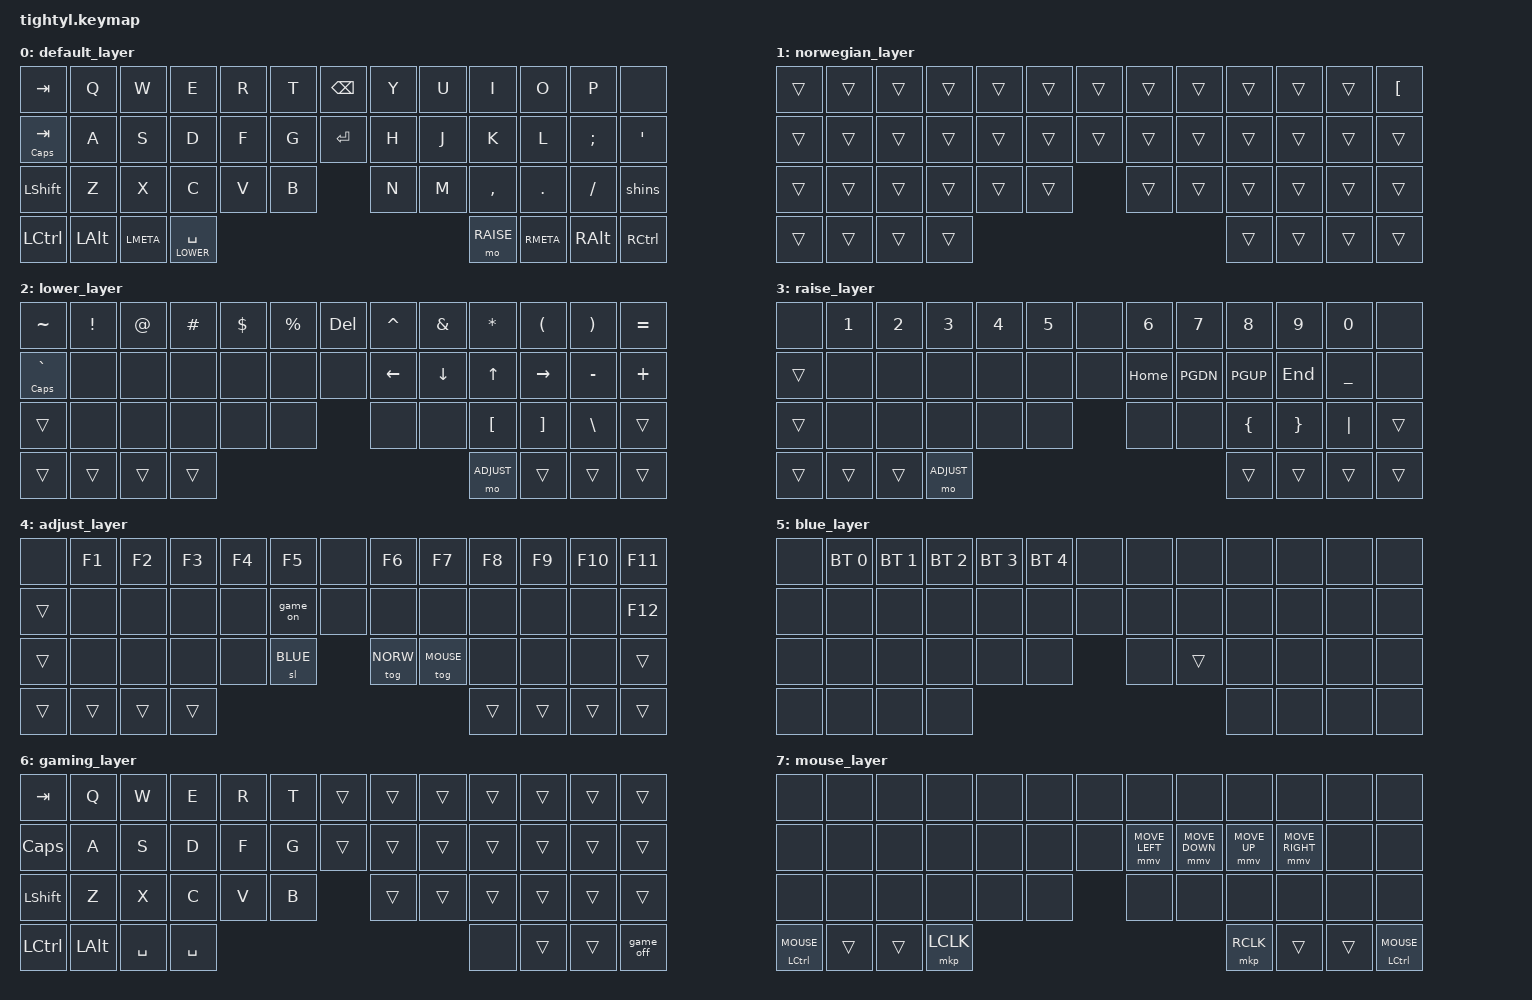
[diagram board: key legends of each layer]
/*
 * Copyright (c) 2020 The ZMK Contributors
 *
 * SPDX-License-Identifier: MIT
 */

#include <behaviors.dtsi>
#include <dt-bindings/zmk/keys.h>
#include <dt-bindings/zmk/bt.h>
#include <dt-bindings/zmk/outputs.h>
#include <dt-bindings/zmk/mouse.h>

#define _____ &none

#define DEFAULT 0
#define NORW    1
#define LOWER   2
#define RAISE   3
#define ADJUST  4
#define BLUE    5
#define GAMING  6
#define MOUSE   7


#define M_UP     &mmv MOVE_UP
#define M_DOWN   &mmv MOVE_DOWN
#define M_LEFT   &mmv MOVE_LEFT
#define M_RIGHT  &mmv MOVE_RIGHT


/ {
    behaviors {
        shins: shift_insert {
            compatible = "zmk,behavior-mod-morph";
            label = "SHIFT_INSERT";
            #binding-cells = <0>;
            bindings = <&kp RSHFT>, <&kp INSERT>;
            mods = <(MOD_LSFT)>;
        };

        game_on: gaming_on {
            compatible = "zmk,behavior-macro";
            label = "GAMING_ON";
            #binding-cells = <0>;
            bindings = <&out OUT_USB>, <&to GAMING>;
        };

        game_off: gaming_off {
            compatible = "zmk,behavior-macro";
            label = "GAMING_OFF";
            #binding-cells = <0>;
            bindings = <&out OUT_BLE>, <&tog GAMING>;

        mtt: mod_tap_tog {
            compatible = "zmk,behavior-hold-tap";
            label = "MOD_TAP_TOG";
            #binding-cells = <2>;
            tapping-term-ms = <200>;    // <---[[moderate duration]]
            quick_tap_ms = <0>;
            flavor = "balanced";
            bindings = <&kp>, <&tog>;
        };    };
    };

    keymap {
        compatible = "zmk,keymap";

        default_layer {
            bindings = <
// ╭───────────┬───────────┬───────────┬───────────┬───────────┬───────────╮                 ╭──────────╮╭───────────┬───────────┬───────────┬───────────┬───────────┬──────────╮
     &kp TAB     &kp  Q      &kp  W      &kp  E      &kp  R      &kp  T                        &kp BSPC    &kp  Y      &kp  U      &kp  I      &kp  O      &kp  P       _____
// ├───────────┼───────────┼───────────┼───────────┼───────────┼───────────┤                 ├──────────┤├───────────┼───────────┼───────────┼───────────┼───────────┼──────────┤
    &mt CAPS TAB &kp  A      &kp  S      &kp  D      &kp  F      &kp  G                        &kp ENTER   &kp  H      &kp  J      &kp  K      &kp  L      &kp SEMI    &kp APOS
// ├───────────┼───────────┼───────────┼───────────┼───────────┼───────────┤                 ╰──────────╯├───────────┼───────────┼───────────┼───────────┼───────────┼──────────┤
     &kp LSHFT   &kp  Z      &kp  X      &kp  C      &kp  V      &kp  B                                    &kp  N      &kp  M      &kp COMMA   &kp DOT     &kp SLASH   &shins
// ├───────────┼───────────┴───────────┴───────────┼───────────┼───────────┼───────────╮     ╭───────────┼───────────┼───────────┼───────────┴───────────┴───────────┼──────────┤
     &kp LCTRL                                       &kp LALT    &kp LMETA  &lt LOWER SPACE    &mo RAISE   &kp RMETA   &kp RALT                                        &kp RCTRL
// ╰───────────╯                                   ╰───────────┴───────────┴───────────╯     ╰───────────┴───────────┴───────────╯                                   ╰──────────╯
            >;
        };

        norwegian_layer {
            bindings = <
// ╭───────────┬───────────┬───────────┬───────────┬───────────┬───────────╮                 ╭──────────╮╭───────────┬───────────┬───────────┬───────────┬───────────┬──────────╮
     &trans      &trans      &trans      &trans      &trans      &trans                        &trans      &trans      &trans      &trans      &trans      &trans      &kp LBKT
// ├───────────┼───────────┼───────────┼───────────┼───────────┼───────────┤                 ├──────────┤├───────────┼───────────┼───────────┼───────────┼───────────┼──────────┤
     &trans      &trans      &trans      &trans      &trans      &trans                        &trans      &trans      &trans      &trans      &trans      &trans      &trans
// ├───────────┼───────────┼───────────┼───────────┼───────────┼───────────┤                 ╰──────────╯├───────────┼───────────┼───────────┼───────────┼───────────┼──────────┤
     &trans      &trans      &trans      &trans      &trans      &trans                                    &trans      &trans      &trans      &trans      &trans      &trans
// ├───────────┼───────────┴───────────┴───────────┼───────────┼───────────┼───────────╮     ╭───────────┼───────────┼───────────┼───────────┴───────────┴───────────┼──────────┤
     &trans                                          &trans      &trans      &trans            &trans      &trans      &trans                                          &trans
// ╰───────────╯                                   ╰───────────┴───────────┴───────────╯     ╰───────────┴───────────┴───────────╯                                   ╰──────────╯
            >;
        };

        lower_layer {
            bindings = <
// ╭───────────┬───────────┬───────────┬───────────┬───────────┬───────────╮                 ╭──────────╮╭───────────┬───────────┬───────────┬───────────┬───────────┬───────────╮
     &kp TILDE    &kp EXCL    &kp AT      &kp HASH   &kp DOLLAR  &kp PRCNT                    &kp DELETE   &kp CARET   &kp AMPS    &kp STAR    &kp LPAR    &kp RPAR    &kp EQUAL
// ├───────────┼───────────┼───────────┼───────────┼───────────┼───────────┤                 ├──────────┤├───────────┼───────────┼───────────┼───────────┼───────────┼───────────┤
     &mt CAPS GRAVE _____     _____       _____       _____       _____                        _____       &kp LEFT    &kp DOWN    &kp UP      &kp RIGHT   &kp MINUS   &kp PLUS
// ├───────────┼───────────┼───────────┼───────────┼───────────┼───────────┤                 ╰──────────╯├───────────┼───────────┼───────────┼───────────┼───────────┼───────────┤
     &trans       _____       _____       _____       _____       _____                                    _____       _____       &kp LBKT    &kp RBKT    &kp BSLH    &trans
// ├───────────┼───────────┴───────────┴───────────┼───────────┼───────────┼───────────╮     ╭───────────┼───────────┼───────────┼───────────┴───────────┴───────────┼───────────┤
     &trans                                           &trans      &trans      &trans          &mo ADJUST   &trans      &trans                                          &trans
// ╰───────────╯                                   ╰───────────┴───────────┴───────────╯     ╰───────────┴───────────┴───────────╯                                   ╰───────────╯
            >;
        };

        raise_layer {
            bindings = <
// ╭───────────┬───────────┬───────────┬───────────┬───────────┬───────────╮                 ╭──────────╮╭───────────┬───────────┬───────────┬───────────┬───────────┬───────────╮
     _____       &kp N1      &kp N2      &kp N3      &kp N4      &kp N5                        _____       &kp N6      &kp N7      &kp N8      &kp N9      &kp N0      _____
// ├───────────┼───────────┼───────────┼───────────┼───────────┼───────────┤                 ├──────────┤├───────────┼───────────┼───────────┼───────────┼───────────┼───────────┤
     &trans      _____       _____       _____       _____       _____                         _____       &kp HOME    &kp PGDN    &kp PGUP    &kp END     &kp UNDER   _____
// ├───────────┼───────────┼───────────┼───────────┼───────────┼───────────┤                 ╰──────────╯├───────────┼───────────┼───────────┼───────────┼───────────┼───────────┤
     &trans      _____       _____       _____       _____       _____                                     _____       _____       &kp LBRC    &kp RBRC    &kp PIPE    &trans
// ├───────────┼───────────┴───────────┴───────────┼───────────┼───────────┼───────────╮     ╭───────────┼───────────┼───────────┼───────────┴───────────┴───────────┼───────────┤
     &trans                                          &trans      &trans      &mo ADJUST        &trans      &trans      &trans                                          &trans
// ╰───────────╯                                   ╰───────────┴───────────┴───────────╯     ╰───────────┴───────────┴───────────╯                                   ╰───────────╯
            >;
        };

        adjust_layer {
            bindings = <
// ╭───────────┬───────────┬───────────┬───────────┬───────────┬───────────╮                 ╭──────────╮╭───────────┬───────────┬───────────┬───────────┬───────────┬───────────╮
      _____       &kp F1      &kp F2      &kp F3      &kp F4     &kp F5                         _____      &kp F6      &kp F7      &kp F8      &kp F9      &kp F10     &kp F11
// ├───────────┼───────────┼───────────┼───────────┼───────────┼───────────┤                 ├──────────┤├───────────┼───────────┼───────────┼───────────┼───────────┼───────────┤
      &trans      _____       _____       _____       _____      &game_on                       _____      _____       _____       _____       _____       _____       &kp F12
// ├───────────┼───────────┼───────────┼───────────┼───────────┼───────────┤                 ╰──────────╯├───────────┼───────────┼───────────┼───────────┼───────────┼───────────┤
      &trans      _____       _____       _____       _____      &sl BLUE                                  &tog NORW   &tog MOUSE  _____       _____       _____       &trans
// ├───────────┼───────────┴───────────┴───────────┼───────────┼───────────┼───────────╮     ╭───────────┼───────────┼───────────┼───────────┴───────────┴───────────┼───────────┤
      &trans                                          &trans     &trans       &trans            &trans     &trans      &trans                                          &trans
// ╰───────────╯                                   ╰───────────┴───────────┴───────────╯     ╰───────────┴───────────┴───────────╯                                   ╰───────────╯
            >;
        };

        blue_layer {
            bindings = <
// ╭─────────┬────────────┬────────────┬────────────┬────────────┬────────────╮               ╭──────────╮╭───────────┬───────────┬───────────┬───────────┬───────────┬──────────╮
     _____    &bt BT_SEL 0 &bt BT_SEL 1 &bt BT_SEL 2 &bt BT_SEL 3 &bt BT_SEL 4                   _____       _____       _____       _____       _____       _____       _____
// ├─────────┼────────────┼────────────┼────────────┼────────────┼────────────┤               ├──────────┤├───────────┼───────────┼───────────┼───────────┼───────────┼──────────┤
     _____     _____         _____        _____        _____        _____                        _____       _____       _____       _____       _____       _____       _____
// ├─────────┼────────────┼────────────┼────────────┼────────────┼────────────┤               ╰──────────╯├───────────┼───────────┼───────────┼───────────┼───────────┼──────────┤
     _____     _____         _____        _____        _____        _____                                    _____       &trans      _____       _____       _____       _____
// ├─────────┼────────────┴────────────┴────────────┼────────────┼────────────┼─────────╮     ╭───────────┼───────────┼───────────┼───────────┴───────────┴───────────┼──────────┤
     _____                                             _____        _____         _____          _____       _____       _____                                           _____
// ╰─────────╯                                      ╰────────────┴────────────┴─────────╯     ╰───────────┴───────────┴───────────╯                                   ╰──────────╯
            >;
        };

        gaming_layer {
            bindings = <
// ╭───────────┬───────────┬───────────┬───────────┬───────────┬───────────╮                 ╭──────────╮╭───────────┬───────────┬───────────┬───────────┬───────────┬──────────╮
     &kp TAB     &kp  Q      &kp  W      &kp  E      &kp  R      &kp  T                        &trans      &trans      &trans      &trans      &trans      &trans      &trans
// ├───────────┼───────────┼───────────┼───────────┼───────────┼───────────┤                 ├──────────┤├───────────┼───────────┼───────────┼───────────┼───────────┼──────────┤
     &kp CAPS    &kp  A      &kp  S      &kp  D      &kp  F      &kp  G                        &trans      &trans      &trans      &trans      &trans      &trans      &trans
// ├───────────┼───────────┼───────────┼───────────┼───────────┼───────────┤                 ╰──────────╯├───────────┼───────────┼───────────┼───────────┼───────────┼──────────┤
     &kp LSHFT   &kp  Z      &kp  X      &kp  C      &kp  V      &kp  B                                    &trans      &trans      &trans      &trans      &trans      &trans
// ├───────────┼───────────┴───────────┴───────────┼───────────┼───────────┼───────────╮     ╭───────────┼───────────┼───────────┼───────────┴───────────┴───────────┼──────────┤
     &kp LCTRL                                       &kp LALT    &kp SPACE  &kp SPACE          _____       &trans      &trans                                          &game_off
// ╰───────────╯                                   ╰───────────┴───────────┴───────────╯     ╰───────────┴───────────┴───────────╯                                   ╰──────────╯
            >;
        };

        mouse_layer {
            bindings = <
// ╭───────────┬───────────┬───────────┬───────────┬───────────┬───────────╮                 ╭──────────╮╭───────────┬───────────┬───────────┬───────────┬───────────┬──────────╮
     _____       _____       _____       _____       _____       _____                         _____       _____       _____       _____       _____       _____       _____
// ├───────────┼───────────┼───────────┼───────────┼───────────┼───────────┤                 ├──────────┤├───────────┼───────────┼───────────┼───────────┼───────────┼──────────┤
     _____       _____       _____       _____       _____       _____                         _____       M_LEFT      M_DOWN      M_UP        M_RIGHT     _____       _____
// ├───────────┼───────────┼───────────┼───────────┼───────────┼───────────┤                 ╰──────────╯├───────────┼───────────┼───────────┼───────────┼───────────┼──────────┤
     _____       _____       _____       _____       _____       _____                                     _____       _____       _____       _____       _____       _____
// ├───────────┼───────────┴───────────┴───────────┼───────────┼───────────┼───────────╮     ╭───────────┼───────────┼───────────┼───────────┴───────────┴───────────┼──────────┤
     &mtt LCTRL MOUSE                                &trans      &trans      &mkp LCLK         &mkp RCLK   &trans      &trans                                          &mtt LCTRL MOUSE
// ╰───────────╯                                   ╰───────────┴───────────┴───────────╯     ╰───────────┴───────────┴───────────╯                                   ╰──────────╯
            >;
        };
    };
};

